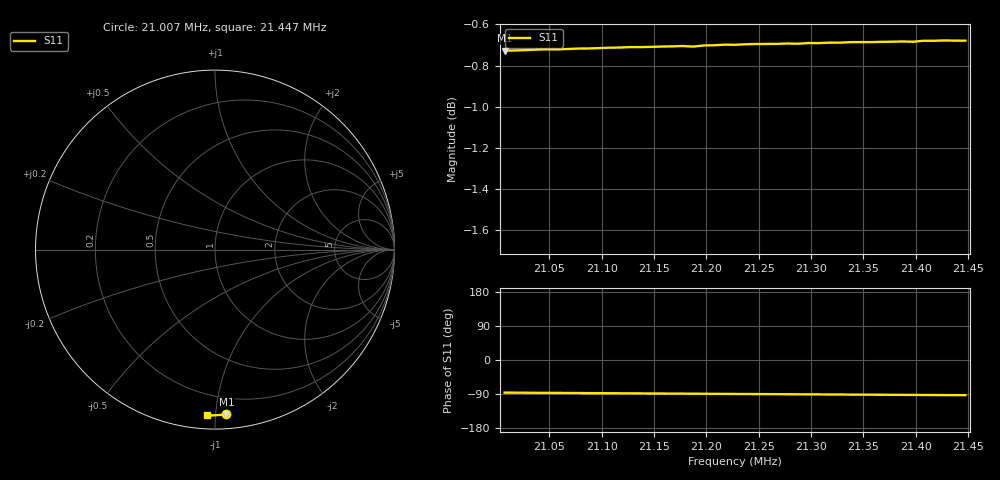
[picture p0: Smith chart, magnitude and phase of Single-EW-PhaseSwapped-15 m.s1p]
# HZ S RI R 50
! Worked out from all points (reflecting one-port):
!   45 points, 21.007 MHz to 21.447 MHz, reference 50 ohm
!   lowest |S11| = -0.7 dB at 21.007 MHz (marker M1), VSWR 23.90, Z = 4.49 - j53.4 ohm
!   phase of S11 starts at -86 deg and turns -7 deg over the sweep
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2.10072e7  0.0635 -0.9175
2.104722e7  0.053 -0.9188
2.105722e7  0.0503 -0.9189
2.106722e7  0.0476 -0.9192
2.108723e7  0.0425 -0.9198
2.110724e7  0.0371 -0.9204
2.111724e7  0.0347 -0.9206
2.113725e7  0.0294 -0.921
2.117727e7  0.0193 -0.9218
2.118727e7  0.0167 -0.9216
2.119728e7  0.0144 -0.9222
2.121728e7  0.00928 -0.9227
2.122729e7  0.00678 -0.9226
2.12473e7  0.0018 -0.9231
2.12573e7  -0.000587 -0.9231
2.127731e7  -0.00572 -0.9233
2.128731e7  -0.0082 -0.9231
2.129732e7  -0.0106 -0.9235
2.130732e7  -0.0131 -0.9234
2.131732e7  -0.0155 -0.9236
2.132733e7  -0.0181 -0.9236
2.133733e7  -0.0205 -0.9238
2.138735e7  -0.0327 -0.9238
2.139736e7  -0.0352 -0.9236
2.140736e7  -0.0375 -0.924
2.141736e7  -0.0398 -0.9239
2.142737e7  -0.0423 -0.9239
2.144738e7  -0.047 -0.9236
